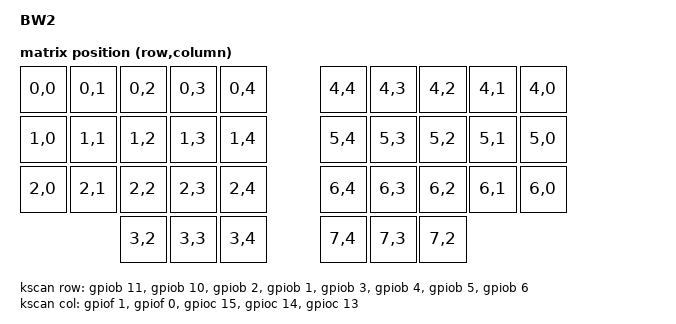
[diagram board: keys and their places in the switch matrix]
/*
 * Copyright (c) 2020 The ZMK Contributors
 *
 * SPDX-License-Identifier: MIT
 */

/dts-v1/;
#include <st/f0/stm32f072Xb.dtsi>
#include <st/f0/stm32f072v(8-b)tx-pinctrl.dtsi>

#include <dt-bindings/zmk/matrix_transform.h>

/ {
    model = "BW2";
    compatible = "hazel,bw2", "st,stm32f072";

    chosen {
        zephyr,sram = &sram0;
        zephyr,flash = &flash0;
        zephyr,console = &cdc_acm_uart;
        zmk,kscan = &kscan;
        zmk,matrix_transform = &transform;
    };

    transform: transform {
        compatible = "zmk,matrix-transform";
        columns = <5>;
        rows = <8>;

        map = <
            RC(0,0) RC(0,1) RC(0, 2) RC(0, 3) RC(0, 4) RC(4,4) RC(4,3) RC(4,2) RC(4,1) RC(4,0)
            RC(1,0) RC(1,1) RC(1, 2) RC(1, 3) RC(1, 4) RC(5,4) RC(5,3) RC(5,2) RC(5,1) RC(5,0)
            RC(2,0) RC(2,1) RC(2, 2) RC(2, 3) RC(2, 4) RC(6,4) RC(6,3) RC(6,2) RC(6,1) RC(6,0)
                            RC(3,2) RC(3,3) RC(3,4) RC(7, 4) RC(7,3) RC(7,2)
        >;
    };


    kscan: kscan {
        compatible = "zmk,kscan-gpio-matrix";
        label = "KSCAN";

        diode-direction = "col2row";

        col-gpios
        = <&gpiof 1 (GPIO_ACTIVE_HIGH | GPIO_PULL_DOWN)>
        , <&gpiof 0 (GPIO_ACTIVE_HIGH | GPIO_PULL_DOWN)>
        , <&gpioc 15 (GPIO_ACTIVE_HIGH | GPIO_PULL_DOWN)>
        , <&gpioc 14 (GPIO_ACTIVE_HIGH | GPIO_PULL_DOWN)>
        , <&gpioc 13 (GPIO_ACTIVE_HIGH | GPIO_PULL_DOWN)>
        ;


        row-gpios
        = <&gpiob 11 (GPIO_ACTIVE_HIGH | GPIO_PULL_DOWN)>
        , <&gpiob 10 (GPIO_ACTIVE_HIGH | GPIO_PULL_DOWN)>
        , <&gpiob 2 (GPIO_ACTIVE_HIGH | GPIO_PULL_DOWN)>
        , <&gpiob 1 (GPIO_ACTIVE_HIGH | GPIO_PULL_DOWN)>
        , <&gpiob 3 (GPIO_ACTIVE_HIGH | GPIO_PULL_DOWN)>
        , <&gpiob 4 (GPIO_ACTIVE_HIGH | GPIO_PULL_DOWN)>
        , <&gpiob 5 (GPIO_ACTIVE_HIGH | GPIO_PULL_DOWN)>
        , <&gpiob 6 (GPIO_ACTIVE_HIGH | GPIO_PULL_DOWN)>
        ;
    };

};

&usb {
    status = "okay";
    pinctrl-0 = <&usb_dm_pa11 &usb_dp_pa12>;
    pinctrl-names = "default";    
    cdc_acm_uart: cdc_acm_uart {
        compatible = "zephyr,cdc-acm-uart";
        label = "CDC_ACM_0";
    };
};

&clk_hsi {
    status = "okay";
};

&clk_hsi48 {
    status = "okay";
};

&pll {
    prediv = <1>;
    mul = <6>;
    clocks = <&clk_hsi>;
    status = "okay";
};

&rcc {
    clocks = <&pll>;
    clock-frequency = <DT_FREQ_M(48)>;
    ahb-prescaler = <1>;
    apb1-prescaler = <1>;
};


&rtc {
    status = "okay";
};

&flash0 {
    /*
     * For more information, see:
     * http: //docs.zephyrproject.org/latest/guides/dts/index.html#flash-partitions
     */
    partitions {
        compatible = "fixed-partitions";
        #address-cells = <1>;
        #size-cells = <1>;

        /* Set 6Kb of storage at the end of the 128Kb of flash */
        storage_partition: partition@3e800 {
            label = "storage";
            reg = <0x0001e800 0x00001800>;
        };
    };
};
